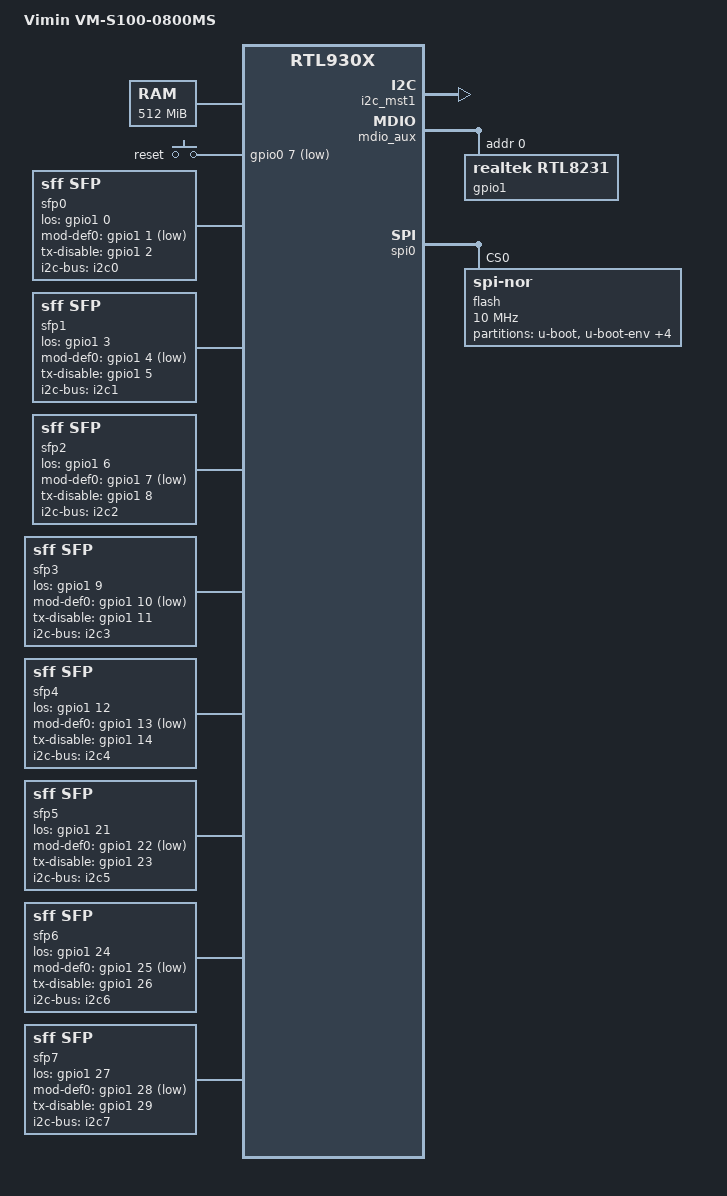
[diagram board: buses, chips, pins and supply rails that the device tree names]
// SPDX-License-Identifier: GPL-2.0-or-later

#include "rtl930x.dtsi"

#include <dt-bindings/input/input.h>
#include <dt-bindings/gpio/gpio.h>
#include <dt-bindings/leds/common.h>

/ {
	compatible = "vimin,vm-s100-0800ms", "realtek,rtl930x-soc";
	model = "Vimin VM-S100-0800MS";

	memory@0 {
		device_type = "memory";
		reg = <0x00000000 0x10000000>, /* first 256 MiB */
		      <0x20000000 0x10000000>; /* remaining 256 MiB */
	};

	chosen {
		stdout-path = "serial0:115200n8";
	};

	keys {
		compatible = "gpio-keys";

		button-reset {
			label = "reset";
			gpios = <&gpio0 7 GPIO_ACTIVE_LOW>;
			linux,code = <KEY_RESTART>;
		};
	};

	led_set {
		compatible = "realtek,rtl9300-leds";
		active-low;

		led_set0 = <(RTL93XX_LED_SET_10G | RTL93XX_LED_SET_5G | RTL93XX_LED_SET_2P5G |
			     RTL93XX_LED_SET_1G | RTL93XX_LED_SET_100M | RTL93XX_LED_SET_10M |
			     RTL93XX_LED_SET_LINK | RTL93XX_LED_SET_ACT)>;
	};

	sfp0: sfp-p1 {
		compatible = "sff,sfp";
		i2c-bus = <&i2c0>;
		los-gpio = <&gpio1 0 GPIO_ACTIVE_HIGH>;
		mod-def0-gpio = <&gpio1 1 GPIO_ACTIVE_LOW>;
		tx-disable-gpio = <&gpio1 2 GPIO_ACTIVE_HIGH>;
		maximum-power-milliwatt = <2900>;
		#thermal-sensor-cells = <0>;
	};

	sfp1: sfp-p2 {
		compatible = "sff,sfp";
		i2c-bus = <&i2c1>;
		los-gpio = <&gpio1 3 GPIO_ACTIVE_HIGH>;
		mod-def0-gpio = <&gpio1 4 GPIO_ACTIVE_LOW>;
		tx-disable-gpio = <&gpio1 5 GPIO_ACTIVE_HIGH>;
		maximum-power-milliwatt = <1500>;
		#thermal-sensor-cells = <0>;
	};

	sfp2: sfp-p3 {
		compatible = "sff,sfp";
		i2c-bus = <&i2c2>;
		los-gpio = <&gpio1 6 GPIO_ACTIVE_HIGH>;
		mod-def0-gpio = <&gpio1 7 GPIO_ACTIVE_LOW>;
		tx-disable-gpio = <&gpio1 8 GPIO_ACTIVE_HIGH>;
		maximum-power-milliwatt = <1500>;
		#thermal-sensor-cells = <0>;
	};

	sfp3: sfp-p4 {
		compatible = "sff,sfp";
		i2c-bus = <&i2c3>;
		los-gpio = <&gpio1 9 GPIO_ACTIVE_HIGH>;
		mod-def0-gpio = <&gpio1 10 GPIO_ACTIVE_LOW>;
		tx-disable-gpio = <&gpio1 11 GPIO_ACTIVE_HIGH>;
		maximum-power-milliwatt = <2000>;
		#thermal-sensor-cells = <0>;
	};

	sfp4: sfp-p5 {
		compatible = "sff,sfp";
		i2c-bus = <&i2c4>;
		los-gpio = <&gpio1 12 GPIO_ACTIVE_HIGH>;
		mod-def0-gpio = <&gpio1 13 GPIO_ACTIVE_LOW>;
		tx-disable-gpio = <&gpio1 14 GPIO_ACTIVE_HIGH>;
		maximum-power-milliwatt = <2000>;
		#thermal-sensor-cells = <0>;
	};

	sfp5: sfp-p6 {
		compatible = "sff,sfp";
		i2c-bus = <&i2c5>;
		los-gpio = <&gpio1 21 GPIO_ACTIVE_HIGH>;
		mod-def0-gpio = <&gpio1 22 GPIO_ACTIVE_LOW>;
		tx-disable-gpio = <&gpio1 23 GPIO_ACTIVE_HIGH>;
		maximum-power-milliwatt = <1500>;
		#thermal-sensor-cells = <0>;
	};

	sfp6: sfp-p7 {
		compatible = "sff,sfp";
		i2c-bus = <&i2c6>;
		los-gpio = <&gpio1 24 GPIO_ACTIVE_HIGH>;
		mod-def0-gpio = <&gpio1 25 GPIO_ACTIVE_LOW>;
		tx-disable-gpio = <&gpio1 26 GPIO_ACTIVE_HIGH>;
		maximum-power-milliwatt = <1500>;
		#thermal-sensor-cells = <0>;
	};

	sfp7: sfp-p8 {
		compatible = "sff,sfp";
		i2c-bus = <&i2c7>;
		los-gpio = <&gpio1 27 GPIO_ACTIVE_HIGH>;
		mod-def0-gpio = <&gpio1 28 GPIO_ACTIVE_LOW>;
		tx-disable-gpio = <&gpio1 29 GPIO_ACTIVE_HIGH>;
		maximum-power-milliwatt = <2900>;
		#thermal-sensor-cells = <0>;
	};
};

&i2c_mst1 {
	status = "okay";

	/* SDA0-7 correspond to GPIO9-16 */
	i2c0: i2c@0 {
		reg = <0>;
	};
	i2c1: i2c@1 {
		reg = <1>;
	};
	i2c2: i2c@2 {
		reg = <2>;
	};
	i2c3: i2c@3 {
		reg = <3>;
	};
	i2c4: i2c@4 {
		reg = <4>;
	};
	i2c5: i2c@5 {
		reg = <5>;
	};
	i2c6: i2c@6 {
		reg = <6>;
	};
	i2c7: i2c@7 {
		reg = <7>;
	};
};

&mdio_aux {
	status = "okay";

	gpio1: gpio@0 {
		compatible = "realtek,rtl8231";
		reg = <0>;

		gpio-controller;
		#gpio-cells = <2>;
		gpio-ranges = <&gpio1 0 0 37>;

		led-controller {
			compatible = "realtek,rtl8231-leds";
			status = "disabled";
		};
	};
};

&spi0 {
	status = "okay";

	flash@0 {
		compatible = "jedec,spi-nor";
		reg = <0>;
		spi-max-frequency = <10000000>;

		partitions {
			compatible = "fixed-partitions";
			#address-cells = <1>;
			#size-cells = <1>;

			partition@0 {
				label = "u-boot";
				reg = <0x0 0xe0000>;
				read-only;
			};

			partition@e0000 {
				label = "u-boot-env";
				reg = <0xe0000 0x10000>;
			};

			partition@f0000 {
				label = "u-boot-env2";
				reg = <0xf0000 0x10000>;
				read-only;
			};

			partition@100000 {
				label = "jffs";
				reg = <0x100000 0x100000>;
			};

			partition@200000 {
				label = "jffs2";
				reg = <0x200000 0x100000>;
			};

			partition@300000 {
				label = "firmware";
				reg = <0x300000 0xd00000>;
				compatible = "openwrt,uimage", "denx,uimage";
				openwrt,ih-magic = <0x93000000>;
			};
		};
	};
};

&switch0 {
	ethernet-ports {
		#address-cells = <1>;
		#size-cells = <0>;

		SWITCH_PORT_SFP(0, 1, 2, 0, 0)
		SWITCH_PORT_SFP(8, 2, 3, 0, 1)
		SWITCH_PORT_SFP(16, 3, 4, 0, 2)
		SWITCH_PORT_SFP(20, 4, 5, 0, 3)
		SWITCH_PORT_SFP(24, 5, 6, 0, 4)
		SWITCH_PORT_SFP(25, 6, 7, 0, 5)
		SWITCH_PORT_SFP(26, 7, 8, 0, 6)
		SWITCH_PORT_SFP(27, 8, 9, 0, 7)

		port@1c {
			ethernet = <&ethernet0>;
			reg = <28>;
			phy-mode = "internal";

			fixed-link {
				speed = <1000>;
				full-duplex;
			};
		};
	};
};

&thermal_zones {
	sfp-thermal {
		polling-delay-passive = <10000>;
		polling-delay = <10000>;
		thermal-sensors = <&sfp0>, <&sfp1>, <&sfp2>, <&sfp3>, <&sfp4>, <&sfp5>, <&sfp6>, <&sfp7>;
		trips {
			sfp-crit {
				temperature = <110000>;
				hysteresis = <1000>;
				type = "critical";
			};
		};
	};
};
